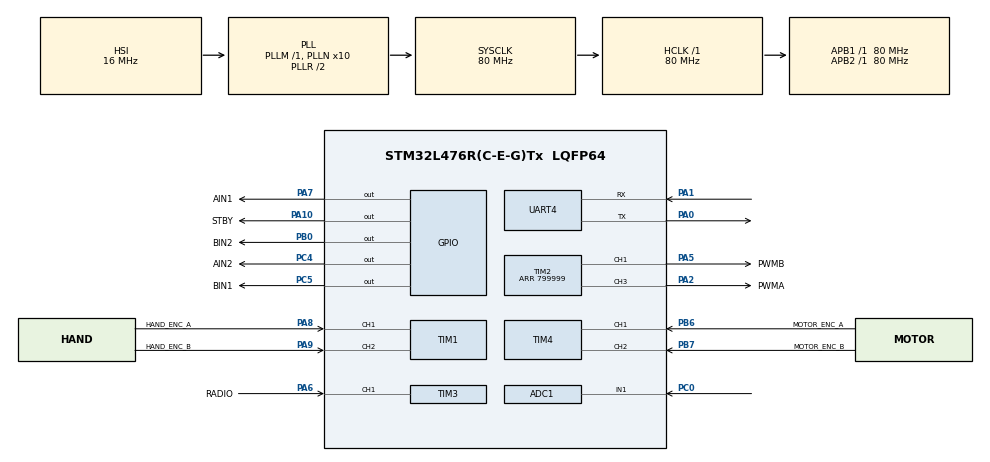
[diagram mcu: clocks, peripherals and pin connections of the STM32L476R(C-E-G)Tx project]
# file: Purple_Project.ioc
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ADC1.Channel-1\#ChannelRegularConversion=ADC_CHANNEL_1
ADC1.NbrOfConversionFlag=1
ADC1.OffsetNumber-1\#ChannelRegularConversion=ADC_OFFSET_NONE
ADC1.Rank-1\#ChannelRegularConversion=1
ADC1.SamplingTime-1\#ChannelRegularConversion=ADC_SAMPLETIME_2CYCLES_5
ADC1.master=1
Mcu.Family=STM32L4
Mcu.Name=STM32L476R(C-E-G)Tx
Mcu.Package=LQFP64
NVIC.PriorityGroup=NVIC_PRIORITYGROUP_4
NVIC.TIM3_IRQn=true\:0\:0\:false\:false\:true\:true\:true\:true
PA0.Mode=Asynchronous
PA0.Signal=UART4_TX
PA1.Mode=Asynchronous
PA1.Signal=UART4_RX
PA10.GPIO_Label=STBY
PA10.Signal=GPIO_Output
PA13\ (JTMS-SWDIO).Mode=Serial_Wire
PA13\ (JTMS-SWDIO).Signal=SYS_JTMS-SWDIO
PA14\ (JTCK-SWCLK).Mode=Serial_Wire
PA14\ (JTCK-SWCLK).Signal=SYS_JTCK-SWCLK
PA2.GPIO_Label=PWMA
PA2.Signal=S_TIM2_CH3
PA5.GPIO_Label=PWMB
PA5.Signal=S_TIM2_CH1
PA6.GPIO_Label=RADIO
PA6.Signal=S_TIM3_CH1
PA7.GPIO_Label=AIN1
PA7.Signal=GPIO_Output
PA8.GPIO_Label=HAND_ENC_A
PA8.Signal=S_TIM1_CH1
PA9.GPIO_Label=HAND_ENC_B
PA9.Signal=S_TIM1_CH2
PB0.GPIO_Label=BIN2
PB0.Signal=GPIO_Output
PB6.GPIO_Label=MOTOR_ENC_A
PB6.Signal=S_TIM4_CH1
PB7.GPIO_Label=MOTOR_ENC_B
PB7.Signal=S_TIM4_CH2
PC0.Signal=ADCx_IN1
PC4.GPIO_Label=AIN2
PC4.Signal=GPIO_Output
PC5.GPIO_Label=BIN1
PC5.Signal=GPIO_Output
ProjectManager.HeapSize=0x200
ProjectManager.StackSize=0x400
ProjectManager.TargetToolchain=STM32CubeIDE
RCC.ADCFreq_Value=64000000
RCC.AHBFreq_Value=80000000
RCC.APB1Freq_Value=80000000
RCC.APB1TimFreq_Value=80000000
RCC.APB2Freq_Value=80000000
RCC.APB2TimFreq_Value=80000000
RCC.CortexFreq_Value=80000000
RCC.HCLKFreq_Value=80000000
RCC.HSE_VALUE=8000000
RCC.HSI_VALUE=16000000
RCC.LSE_VALUE=32768
RCC.MSI_VALUE=4000000
RCC.PLLN=10
RCC.PLLSourceVirtual=RCC_PLLSOURCE_HSI
RCC.SYSCLKFreq_VALUE=80000000
RCC.SYSCLKSource=RCC_SYSCLKSOURCE_PLLCLK
RCC.USBFreq_Value=64000000
RCC.VCOOutputFreq_Value=160000000
SH.ADCx_IN1.0=ADC1_IN1,IN1-Single-Ended
SH.S_TIM1_CH1.0=TIM1_CH1,Encoder_Interface
SH.S_TIM1_CH2.0=TIM1_CH2,Encoder_Interface
SH.S_TIM2_CH1.0=TIM2_CH1,PWM Generation1 CH1
SH.S_TIM2_CH3.0=TIM2_CH3,PWM Generation3 CH3
SH.S_TIM3_CH1.0=TIM3_CH1,Input_Capture1_from_TI1
SH.S_TIM4_CH1.0=TIM4_CH1,Encoder_Interface
SH.S_TIM4_CH2.0=TIM4_CH2,Encoder_Interface
TIM1.EncoderMode=TIM_ENCODERMODE_TI12
TIM2.Channel-PWM\ Generation1\ CH1=TIM_CHANNEL_1
TIM2.Channel-PWM\ Generation3\ CH3=TIM_CHANNEL_3
TIM2.Period=799999
TIM3.Channel-Input_Capture1_from_TI1=TIM_CHANNEL_1
TIM3.Channel-Input_Capture2_from_TI1_63=TIM_CHANNEL_2
TIM4.EncoderMode=TIM_ENCODERMODE_TI12
VP_TIM3_VS_indirect_ch1.Mode=Input_Capture2_from_TI1_63
board=custom

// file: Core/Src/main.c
/* USER CODE BEGIN Header */
/**
  ******************************************************************************
  * @file           : main.c
  * @brief          : Main program body
  ******************************************************************************
  * @attention
  *
  * Copyright (c) 2024 STMicroelectronics.
  * All rights reserved.
  *
  * This software is licensed under terms that can be found in the LICENSE file
  * in the root directory of this software component.
  * If no LICENSE file comes with this software, it is provided AS-IS.
  *
  ******************************************************************************
  */
/* USER CODE END Header */
#include "main.h"

/* USER CODE BEGIN Includes */

#include "encoder_reader.h"
#include "motor_driver.h"
#include "controller.h"
#include "myo.h"
#include <stdio.h>
#include "stm32l4xx_hal.h"
#include <stdint.h>
#include <string.h>
#include <ctype.h>
#include <stdlib.h>

/* USER CODE END Includes */

ADC_HandleTypeDef hadc1;

TIM_HandleTypeDef htim1;
TIM_HandleTypeDef htim2;
TIM_HandleTypeDef htim3;
TIM_HandleTypeDef htim4;

UART_HandleTypeDef huart4;

/* USER CODE BEGIN PV */

//create encoder objects

	encoder_t spin_enc = {.channel1 = TIM_CHANNEL_1,
						  .channel2 = TIM_CHANNEL_2,
						  .hal_tim = &htim4,
						  .mot_pos = 0,
						  .curr_count = 0,
						  .prev_count = 0,
						  .delta = 0};

	//create motor objects

	motor_t spin_mot = {.pwm_val    = 0,
					.pwm_channel = TIM_CHANNEL_1,
					.hal_tim = &htim2,
					.in_pin_1 = BIN1_Pin,
					.in_pin_2 = BIN2_Pin,
					.stby_pin = STBY_Pin,
					.port_in_1 = GPIOC,
					.port_in_2 = BIN2_GPIO_Port,
					.port_stby_pin = GPIOA};

	//create controller object
	controller_t spin_cont = {.p_mot = &spin_mot,
							  .p_enc = &spin_enc,
							  .gain = 1000,
							  .setpoint = 0};

//	//create myo object
//	myo_t smyo = {.hal_adc = &hadc2,
//		  	  	  .prev_value = 0,
//				  .current_value = 0};

uint16_t spin_pos = 0;
uint16_t smyo_curr = 0;
uint16_t smyo_prev = 0;
int16_t smyo_delta = 0;
int16_t spin_mot_pos = 0;
int16_t spin_pwm = 0;

char tst_buff[150];
int m;

/* USER CODE END PV */

void SystemClock_Config(void);
static void MX_GPIO_Init(void);
static void MX_TIM1_Init(void);
static void MX_TIM2_Init(void);
static void MX_TIM3_Init(void);
static void MX_TIM4_Init(void);
static void MX_UART4_Init(void);
static void MX_ADC1_Init(void);

int main(void)
{

  /* USER CODE BEGIN 1 */

	controller_init(&spin_cont);

	set_stby(&spin_mot,1);

	set_duty(&spin_mot,799999);

  /* USER CODE END 1 */

  /* MCU Configuration--------------------------------------------------------*/

  /* Reset of all peripherals, Initializes the Flash interface and the Systick. */
  HAL_Init();

  /* Configure the system clock */
  SystemClock_Config();

  /* Initialize all configured peripherals */
  MX_GPIO_Init();
  MX_TIM1_Init();
  MX_TIM2_Init();
  MX_TIM3_Init();
  MX_TIM4_Init();
  MX_UART4_Init();
  MX_ADC1_Init();

  /* Infinite loop */
  while (1)
  {

  }
}

void SystemClock_Config(void)
{
  RCC_OscInitTypeDef RCC_OscInitStruct = {0};
  RCC_ClkInitTypeDef RCC_ClkInitStruct = {0};

  /** Configure the main internal regulator output voltage
  */
  if (HAL_PWREx_ControlVoltageScaling(PWR_REGULATOR_VOLTAGE_SCALE1) != HAL_OK)
  {
    Error_Handler();
  }

  /** Initializes the RCC Oscillators according to the specified parameters
  * in the RCC_OscInitTypeDef structure.
  */
  RCC_OscInitStruct.OscillatorType = RCC_OSCILLATORTYPE_HSI;
  RCC_OscInitStruct.HSIState = RCC_HSI_ON;
  RCC_OscInitStruct.HSICalibrationValue = RCC_HSICALIBRATION_DEFAULT;
  RCC_OscInitStruct.PLL.PLLState = RCC_PLL_ON;
  RCC_OscInitStruct.PLL.PLLSource = RCC_PLLSOURCE_HSI;
  RCC_OscInitStruct.PLL.PLLM = 1;
  RCC_OscInitStruct.PLL.PLLN = 10;
  RCC_OscInitStruct.PLL.PLLP = RCC_PLLP_DIV7;
  RCC_OscInitStruct.PLL.PLLQ = RCC_PLLQ_DIV2;
  RCC_OscInitStruct.PLL.PLLR = RCC_PLLR_DIV2;
  if (HAL_RCC_OscConfig(&RCC_OscInitStruct) != HAL_OK)
  {
    Error_Handler();
  }

  /** Initializes the CPU, AHB and APB buses clocks
  */
  RCC_ClkInitStruct.ClockType = RCC_CLOCKTYPE_HCLK|RCC_CLOCKTYPE_SYSCLK
                              |RCC_CLOCKTYPE_PCLK1|RCC_CLOCKTYPE_PCLK2;
  RCC_ClkInitStruct.SYSCLKSource = RCC_SYSCLKSOURCE_PLLCLK;
  RCC_ClkInitStruct.AHBCLKDivider = RCC_SYSCLK_DIV1;
  RCC_ClkInitStruct.APB1CLKDivider = RCC_HCLK_DIV1;
  RCC_ClkInitStruct.APB2CLKDivider = RCC_HCLK_DIV1;

  if (HAL_RCC_ClockConfig(&RCC_ClkInitStruct, FLASH_LATENCY_4) != HAL_OK)
  {
    Error_Handler();
  }
}

static void MX_ADC1_Init(void)
{

  ADC_MultiModeTypeDef multimode = {0};
  ADC_ChannelConfTypeDef sConfig = {0};

  /** Common config
  */
  hadc1.Instance = ADC1;
  hadc1.Init.ClockPrescaler = ADC_CLOCK_ASYNC_DIV1;
  hadc1.Init.Resolution = ADC_RESOLUTION_12B;
  hadc1.Init.DataAlign = ADC_DATAALIGN_RIGHT;
  hadc1.Init.ScanConvMode = ADC_SCAN_DISABLE;
  hadc1.Init.EOCSelection = ADC_EOC_SINGLE_CONV;
  hadc1.Init.LowPowerAutoWait = DISABLE;
  hadc1.Init.ContinuousConvMode = DISABLE;
  hadc1.Init.NbrOfConversion = 1;
  hadc1.Init.DiscontinuousConvMode = DISABLE;
  hadc1.Init.ExternalTrigConv = ADC_SOFTWARE_START;
  hadc1.Init.ExternalTrigConvEdge = ADC_EXTERNALTRIGCONVEDGE_NONE;
  hadc1.Init.DMAContinuousRequests = DISABLE;
  hadc1.Init.Overrun = ADC_OVR_DATA_PRESERVED;
  hadc1.Init.OversamplingMode = DISABLE;
  if (HAL_ADC_Init(&hadc1) != HAL_OK)
  {
    Error_Handler();
  }

  /** Configure the ADC multi-mode
  */
  multimode.Mode = ADC_MODE_INDEPENDENT;
  if (HAL_ADCEx_MultiModeConfigChannel(&hadc1, &multimode) != HAL_OK)
  {
    Error_Handler();
  }

  /** Configure Regular Channel
  */
  sConfig.Channel = ADC_CHANNEL_1;
  sConfig.Rank = ADC_REGULAR_RANK_1;
  sConfig.SamplingTime = ADC_SAMPLETIME_2CYCLES_5;
  sConfig.SingleDiff = ADC_SINGLE_ENDED;
  sConfig.OffsetNumber = ADC_OFFSET_NONE;
  sConfig.Offset = 0;
  if (HAL_ADC_ConfigChannel(&hadc1, &sConfig) != HAL_OK)
  {
    Error_Handler();
  }

}

static void MX_TIM1_Init(void)
{

  TIM_Encoder_InitTypeDef sConfig = {0};
  TIM_MasterConfigTypeDef sMasterConfig = {0};

  htim1.Instance = TIM1;
  htim1.Init.Prescaler = 0;
  htim1.Init.CounterMode = TIM_COUNTERMODE_UP;
  htim1.Init.Period = 65535;
  htim1.Init.ClockDivision = TIM_CLOCKDIVISION_DIV1;
  htim1.Init.RepetitionCounter = 0;
  htim1.Init.AutoReloadPreload = TIM_AUTORELOAD_PRELOAD_DISABLE;
  sConfig.EncoderMode = TIM_ENCODERMODE_TI12;
  sConfig.IC1Polarity = TIM_ICPOLARITY_RISING;
  sConfig.IC1Selection = TIM_ICSELECTION_DIRECTTI;
  sConfig.IC1Prescaler = TIM_ICPSC_DIV1;
  sConfig.IC1Filter = 0;
  sConfig.IC2Polarity = TIM_ICPOLARITY_RISING;
  sConfig.IC2Selection = TIM_ICSELECTION_DIRECTTI;
  sConfig.IC2Prescaler = TIM_ICPSC_DIV1;
  sConfig.IC2Filter = 0;
  if (HAL_TIM_Encoder_Init(&htim1, &sConfig) != HAL_OK)
  {
    Error_Handler();
  }
  sMasterConfig.MasterOutputTrigger = TIM_TRGO_RESET;
  sMasterConfig.MasterOutputTrigger2 = TIM_TRGO2_RESET;
  sMasterConfig.MasterSlaveMode = TIM_MASTERSLAVEMODE_DISABLE;
  if (HAL_TIMEx_MasterConfigSynchronization(&htim1, &sMasterConfig) != HAL_OK)
  {
    Error_Handler();
  }

}

static void MX_TIM2_Init(void)
{

  TIM_MasterConfigTypeDef sMasterConfig = {0};
  TIM_OC_InitTypeDef sConfigOC = {0};

  htim2.Instance = TIM2;
  htim2.Init.Prescaler = 0;
  htim2.Init.CounterMode = TIM_COUNTERMODE_UP;
  htim2.Init.Period = 799999;
  htim2.Init.ClockDivision = TIM_CLOCKDIVISION_DIV1;
  htim2.Init.AutoReloadPreload = TIM_AUTORELOAD_PRELOAD_DISABLE;
  if (HAL_TIM_PWM_Init(&htim2) != HAL_OK)
  {
    Error_Handler();
  }
  sMasterConfig.MasterOutputTrigger = TIM_TRGO_RESET;
  sMasterConfig.MasterSlaveMode = TIM_MASTERSLAVEMODE_DISABLE;
  if (HAL_TIMEx_MasterConfigSynchronization(&htim2, &sMasterConfig) != HAL_OK)
  {
    Error_Handler();
  }
  sConfigOC.OCMode = TIM_OCMODE_PWM1;
  sConfigOC.Pulse = 0;
  sConfigOC.OCPolarity = TIM_OCPOLARITY_HIGH;
  sConfigOC.OCFastMode = TIM_OCFAST_DISABLE;
  if (HAL_TIM_PWM_ConfigChannel(&htim2, &sConfigOC, TIM_CHANNEL_1) != HAL_OK)
  {
    Error_Handler();
  }
  if (HAL_TIM_PWM_ConfigChannel(&htim2, &sConfigOC, TIM_CHANNEL_3) != HAL_OK)
  {
    Error_Handler();
  }
  HAL_TIM_MspPostInit(&htim2);

}

static void MX_TIM3_Init(void)
{

  TIM_MasterConfigTypeDef sMasterConfig = {0};
  TIM_IC_InitTypeDef sConfigIC = {0};

  htim3.Instance = TIM3;
  htim3.Init.Prescaler = 0;
  htim3.Init.CounterMode = TIM_COUNTERMODE_UP;
  htim3.Init.Period = 65535;
  htim3.Init.ClockDivision = TIM_CLOCKDIVISION_DIV1;
  htim3.Init.AutoReloadPreload = TIM_AUTORELOAD_PRELOAD_DISABLE;
  if (HAL_TIM_IC_Init(&htim3) != HAL_OK)
  {
    Error_Handler();
  }
  sMasterConfig.MasterOutputTrigger = TIM_TRGO_RESET;
  sMasterConfig.MasterSlaveMode = TIM_MASTERSLAVEMODE_DISABLE;
  if (HAL_TIMEx_MasterConfigSynchronization(&htim3, &sMasterConfig) != HAL_OK)
  {
    Error_Handler();
  }
  sConfigIC.ICPolarity = TIM_INPUTCHANNELPOLARITY_RISING;
  sConfigIC.ICSelection = TIM_ICSELECTION_DIRECTTI;
  sConfigIC.ICPrescaler = TIM_ICPSC_DIV1;
  sConfigIC.ICFilter = 0;
  if (HAL_TIM_IC_ConfigChannel(&htim3, &sConfigIC, TIM_CHANNEL_1) != HAL_OK)
  {
    Error_Handler();
  }
  sConfigIC.ICSelection = TIM_ICSELECTION_INDIRECTTI;
  if (HAL_TIM_IC_ConfigChannel(&htim3, &sConfigIC, TIM_CHANNEL_2) != HAL_OK)
  {
    Error_Handler();
  }

}

static void MX_TIM4_Init(void)
{

  TIM_Encoder_InitTypeDef sConfig = {0};
  TIM_MasterConfigTypeDef sMasterConfig = {0};

  htim4.Instance = TIM4;
  htim4.Init.Prescaler = 0;
  htim4.Init.CounterMode = TIM_COUNTERMODE_UP;
  htim4.Init.Period = 65535;
  htim4.Init.ClockDivision = TIM_CLOCKDIVISION_DIV1;
  htim4.Init.AutoReloadPreload = TIM_AUTORELOAD_PRELOAD_DISABLE;
  sConfig.EncoderMode = TIM_ENCODERMODE_TI12;
  sConfig.IC1Polarity = TIM_ICPOLARITY_RISING;
  sConfig.IC1Selection = TIM_ICSELECTION_DIRECTTI;
  sConfig.IC1Prescaler = TIM_ICPSC_DIV1;
  sConfig.IC1Filter = 0;
  sConfig.IC2Polarity = TIM_ICPOLARITY_RISING;
  sConfig.IC2Selection = TIM_ICSELECTION_DIRECTTI;
  sConfig.IC2Prescaler = TIM_ICPSC_DIV1;
  sConfig.IC2Filter = 0;
  if (HAL_TIM_Encoder_Init(&htim4, &sConfig) != HAL_OK)
  {
    Error_Handler();
  }
  sMasterConfig.MasterOutputTrigger = TIM_TRGO_RESET;
  sMasterConfig.MasterSlaveMode = TIM_MASTERSLAVEMODE_DISABLE;
  if (HAL_TIMEx_MasterConfigSynchronization(&htim4, &sMasterConfig) != HAL_OK)
  {
    Error_Handler();
  }

}

static void MX_UART4_Init(void)
{

  huart4.Instance = UART4;
  huart4.Init.BaudRate = 115200;
  huart4.Init.WordLength = UART_WORDLENGTH_8B;
  huart4.Init.StopBits = UART_STOPBITS_1;
  huart4.Init.Parity = UART_PARITY_NONE;
  huart4.Init.Mode = UART_MODE_TX_RX;
  huart4.Init.HwFlowCtl = UART_HWCONTROL_NONE;
  huart4.Init.OverSampling = UART_OVERSAMPLING_16;
  huart4.Init.OneBitSampling = UART_ONE_BIT_SAMPLE_DISABLE;
  huart4.AdvancedInit.AdvFeatureInit = UART_ADVFEATURE_NO_INIT;
  if (HAL_UART_Init(&huart4) != HAL_OK)
  {
    Error_Handler();
  }

}

static void MX_GPIO_Init(void)
{
  GPIO_InitTypeDef GPIO_InitStruct = {0};

  /* GPIO Ports Clock Enable */
  __HAL_RCC_GPIOC_CLK_ENABLE();
  __HAL_RCC_GPIOA_CLK_ENABLE();
  __HAL_RCC_GPIOB_CLK_ENABLE();

  /*Configure GPIO pin Output Level */
  HAL_GPIO_WritePin(GPIOA, AIN1_Pin|STBY_Pin, GPIO_PIN_RESET);

  /*Configure GPIO pin Output Level */
  HAL_GPIO_WritePin(GPIOC, AIN2_Pin|BIN1_Pin, GPIO_PIN_RESET);

  /*Configure GPIO pin Output Level */
  HAL_GPIO_WritePin(BIN2_GPIO_Port, BIN2_Pin, GPIO_PIN_RESET);

  /*Configure GPIO pins : AIN1_Pin STBY_Pin */
  GPIO_InitStruct.Pin = AIN1_Pin|STBY_Pin;
  GPIO_InitStruct.Mode = GPIO_MODE_OUTPUT_PP;
  GPIO_InitStruct.Pull = GPIO_NOPULL;
  GPIO_InitStruct.Speed = GPIO_SPEED_FREQ_LOW;
  HAL_GPIO_Init(GPIOA, &GPIO_InitStruct);

  /*Configure GPIO pins : AIN2_Pin BIN1_Pin */
  GPIO_InitStruct.Pin = AIN2_Pin|BIN1_Pin;
  GPIO_InitStruct.Mode = GPIO_MODE_OUTPUT_PP;
  GPIO_InitStruct.Pull = GPIO_NOPULL;
  GPIO_InitStruct.Speed = GPIO_SPEED_FREQ_LOW;
  HAL_GPIO_Init(GPIOC, &GPIO_InitStruct);

  /*Configure GPIO pin : BIN2_Pin */
  GPIO_InitStruct.Pin = BIN2_Pin;
  GPIO_InitStruct.Mode = GPIO_MODE_OUTPUT_PP;
  GPIO_InitStruct.Pull = GPIO_NOPULL;
  GPIO_InitStruct.Speed = GPIO_SPEED_FREQ_LOW;
  HAL_GPIO_Init(BIN2_GPIO_Port, &GPIO_InitStruct);

}

void Error_Handler(void)
{
  __disable_irq();
  while (1)
  {
  }
}
